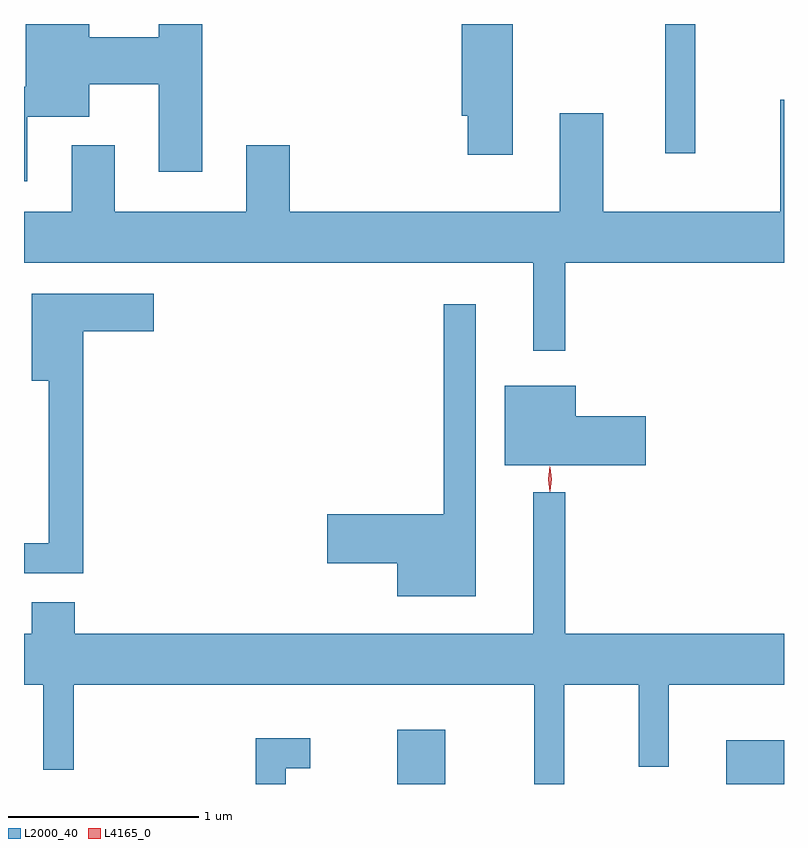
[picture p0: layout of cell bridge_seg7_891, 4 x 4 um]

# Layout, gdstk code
import gdstk
lib = gdstk.Library(unit=1e-6, precision=1e-09)
def R(c, l, rs):  # rectangles x0, y0, x1, y1
    for r in rs: c.add(gdstk.rectangle(r[:2], r[2:], *l))
def P(c, l, *ps):  # polygons
    for p in ps: c.add(gdstk.Polygon(p, *l))
L2000_40 = (2000, 40)
L4165_0 = (4165, 0)

bridge_seg7_891 = lib.new_cell('bridge_seg7_891')
R(bridge_seg7_891, L2000_40, [(466.896,1669.393,467.149,1669.679), (468.626,1669.393,468.931,1669.624), (468.306,1672.713,468.464,1673.393)])
P(bridge_seg7_891, L2000_40, [(464.949,1672.906),(465.274,1672.906),(465.274,1673.076),(465.641,1673.076),(465.641,1672.616),(465.869,1672.616),(465.869,1673.393),(465.641,1673.393),(465.641,1673.324),(465.274,1673.324),(465.274,1673.393),(464.941,1673.393),(464.941,1673.064),(464.931,1673.064),(464.931,1672.566),(464.949,1672.566)],
  [(467.504,1673.393),(467.236,1673.393),(467.236,1672.911),(467.266,1672.911),(467.266,1672.706),(467.504,1672.706)],
  [(467.779,1672.136),(468.931,1672.136),(468.931,1672.994),(468.911,1672.994),(468.911,1672.404),(467.979,1672.404),(467.979,1672.924),(467.751,1672.924),(467.751,1672.404),(466.329,1672.404),(466.329,1672.754),(466.101,1672.754),(466.101,1672.404),(465.409,1672.404),(465.409,1672.754),(465.181,1672.754),(465.181,1672.404),(464.931,1672.404),(464.931,1672.136),(467.611,1672.136),(467.611,1671.673),(467.779,1671.673)],
  [(465.244,1671.776),(465.614,1671.776),(465.614,1671.974),(464.971,1671.974),(464.971,1671.516),(465.061,1671.516),(465.061,1670.659),(464.931,1670.659),(464.931,1670.501),(465.244,1670.501)],
  [(467.309,1671.918),(467.141,1671.918),(467.141,1670.814),(466.526,1670.814),(466.526,1670.556),(466.896,1670.556),(466.896,1670.381),(467.309,1670.381)],
  [(468.204,1671.329),(467.834,1671.329),(467.834,1671.489),(467.461,1671.489),(467.461,1671.071),(468.204,1671.071)],
  [(467.774,1669.916),(468.166,1669.916),(468.166,1669.483),(468.324,1669.483),(468.324,1669.916),(468.931,1669.916),(468.931,1670.184),(467.779,1670.184),(467.779,1670.928),(467.611,1670.928),(467.611,1670.184),(465.199,1670.184),(465.199,1670.349),(464.971,1670.349),(464.971,1670.184),(464.931,1670.184),(464.931,1669.916),(465.031,1669.916),(465.031,1669.468),(465.194,1669.468),(465.194,1669.916),(467.616,1669.916),(467.616,1669.393),(467.774,1669.393)],
  [(466.309,1669.476),(466.438,1669.476),(466.438,1669.634),(466.151,1669.634),(466.151,1669.393),(466.309,1669.393)])
P(bridge_seg7_891, L4165_0, [(467.698,1670.93),(467.689,1670.998),(467.698,1671.065),(467.699,1671.066),(467.699,1671.065),(467.709,1670.998),(467.699,1670.93),(467.699,1670.93)],
  [(467.699,1670.933),(467.699,1670.933),(467.689,1670.996),(467.699,1671.059),(467.699,1671.06),(467.7,1671.059),(467.709,1670.996),(467.7,1670.933)])

lib.write_gds('bridge_seg7_891.gds')
